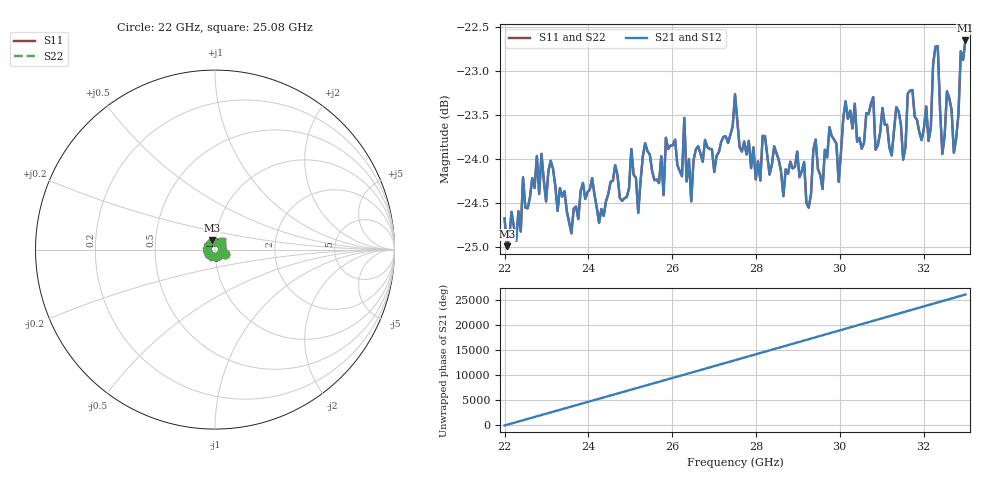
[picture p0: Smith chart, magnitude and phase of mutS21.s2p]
!Keysight Technologies,N5224B,MY57181201,A.12.70.07
!Date: Friday, July 15, 2022 11:57:32
!Correction: S11(Response(S21))
!S21(Response(S21))
!S12(Response(S21))
!S22(Response(S21))
!S2P File: Measurements: S11, S21, S12, S22:
# Hz S  dB  R 50
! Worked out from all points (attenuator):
!   201 points, 22 GHz to 33 GHz, reference 50 ohm
!   highest |S21| = -22.65 dB at 33 GHz (marker M1); lowest = -25.0 dB at 22.05 GHz (marker M2)
!   lowest |S11| = -25.0 dB at 22.05 GHz (marker M3), VSWR 1.12, Z = 48.1 + j5.21 ohm
!   |S11| at or under -10 dB: start of sweep to end of sweep
!   |S22| runs from -25.0 to -22.7 dB; largest |S21 - S12| = 0
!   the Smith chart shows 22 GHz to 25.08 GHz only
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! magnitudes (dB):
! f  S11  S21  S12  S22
! 22 GHz  -24.7  -24.7  -24.7  -24.7
! 22.05 GHz  -25.0  -25.0  -25.0  -25.0
! 22.77 GHz  -24.0  -24.0  -24.0  -24.0
! 23.59 GHz  -24.8  -24.8  -24.8  -24.8
! 23.87 GHz  -24.3  -24.3  -24.3  -24.3
! 25.68 GHz  -24.3  -24.3  -24.3  -24.3
! 26.23 GHz  -24.2  -24.2  -24.2  -24.2
! 26.29 GHz  -23.5  -23.5  -23.5  -23.5
! 26.45 GHz  -24.5  -24.5  -24.5  -24.5
! 27.5 GHz  -23.3  -23.3  -23.3  -23.3
! 28 GHz  -24.2  -24.2  -24.2  -24.2
! 29.26 GHz  -24.6  -24.6  -24.6  -24.6
! 29.37 GHz  -23.9  -23.9  -23.9  -23.9
! 30.8 GHz  -23.3  -23.3  -23.3  -23.3
! 31.18 GHz  -23.9  -23.9  -23.9  -23.9
! 31.73 GHz  -23.2  -23.2  -23.2  -23.2
! 32.12 GHz  -23.8  -23.8  -23.8  -23.8
! 32.34 GHz  -22.7  -22.7  -22.7  -22.7
! 32.45 GHz  -23.9  -23.9  -23.9  -23.9
! 32.56 GHz  -23.2  -23.2  -23.2  -23.2
! 32.73 GHz  -23.9  -23.9  -23.9  -23.9
! 33 GHz  -22.7  -22.7  -22.7  -22.7
